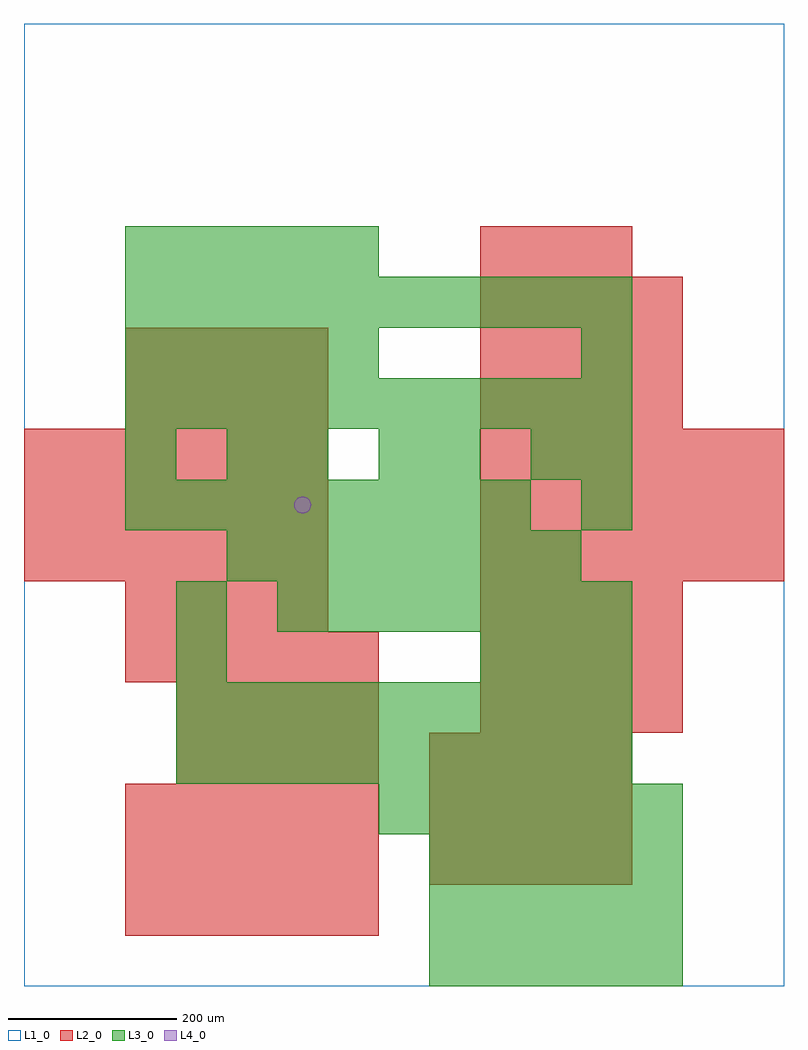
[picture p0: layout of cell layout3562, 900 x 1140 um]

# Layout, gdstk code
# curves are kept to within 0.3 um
import gdstk
lib = gdstk.Library(unit=1e-6, precision=1e-09)
def R(c, l, rs):  # rectangles x0, y0, x1, y1
    for r in rs: c.add(gdstk.rectangle(r[:2], r[2:], *l))
def A(c, l, x, y, w, h, nx, ny, dx, dy):  # array of equal rectangles
    R(c, l, [(x+i*dx, y+j*dy, x+i*dx+w, y+j*dy+h) for i in range(nx) for j in range(ny)])
def P(c, l, *ps):  # polygons
    for p in ps: c.add(gdstk.Polygon(p, *l))
L1_0 = (1, 0)
L2_0 = (2, 0)
L3_0 = (3, 0)
L4_0 = (4, 0)

layout3562 = lib.new_cell('layout3562')
R(layout3562, L1_0, [(0,0,900,1140)])
A(layout3562, L2_0, 120, 60, 60, 60, 5, 3, 60, 60)
A(layout3562, L2_0, 480, 120, 60, 60, 4, 3, 60, 60)
A(layout3562, L2_0, 180, 240, 60, 60, 4, 2, 60, 60)
A(layout3562, L2_0, 540, 300, 60, 60, 4, 3, 60, 60)
A(layout3562, L2_0, 120, 360, 60, 60, 5, 1, 60, 0)
A(layout3562, L2_0, 120, 420, 60, 60, 4, 2, 60, 240)
A(layout3562, L2_0, 0, 480, 60, 60, 6, 3, 60, 60)
A(layout3562, L2_0, 540, 480, 60, 60, 6, 3, 60, 60)
A(layout3562, L2_0, 540, 660, 60, 60, 4, 3, 60, 60)
A(layout3562, L2_0, 120, 720, 60, 60, 4, 1, 60, 0)
A(layout3562, L2_0, 540, 840, 60, 60, 3, 1, 60, 0)
A(layout3562, L3_0, 480, 0, 60, 60, 5, 3, 60, 60)
A(layout3562, L3_0, 420, 180, 60, 60, 6, 1, 60, 0)
A(layout3562, L3_0, 180, 240, 60, 60, 9, 2, 60, 60)
A(layout3562, L3_0, 540, 360, 60, 60, 3, 1, 60, 0)
A(layout3562, L3_0, 300, 420, 60, 60, 7, 1, 60, 0)
A(layout3562, L3_0, 240, 480, 60, 60, 7, 1, 60, 0)
A(layout3562, L3_0, 120, 540, 60, 60, 8, 1, 60, 0)
A(layout3562, L3_0, 120, 660, 60, 60, 10, 2, 60, 120)
A(layout3562, L3_0, 120, 720, 60, 60, 5, 2, 60, 120)
R(layout3562, L3_0, [(180,360,240,420), (180,420,240,480), (660,540,720,600), (120,600,180,660), (240,600,300,660), (300,600,360,660), (420,600,480,660), (480,600,540,660), (600,600,660,660), (660,600,720,660), (660,720,720,780)])
P(layout3562, L4_0, [(340,570),(339.239,573.827),(337.071,577.071),(333.827,579.239),(330,580),(326.173,579.239),(322.929,577.071),(320.761,573.827),(320,570),(320.761,566.173),(322.929,562.929),(326.173,560.761),(330,560),(333.827,560.761),(337.071,562.929),(339.239,566.173)])

lib.write_gds('layout3562.gds')
